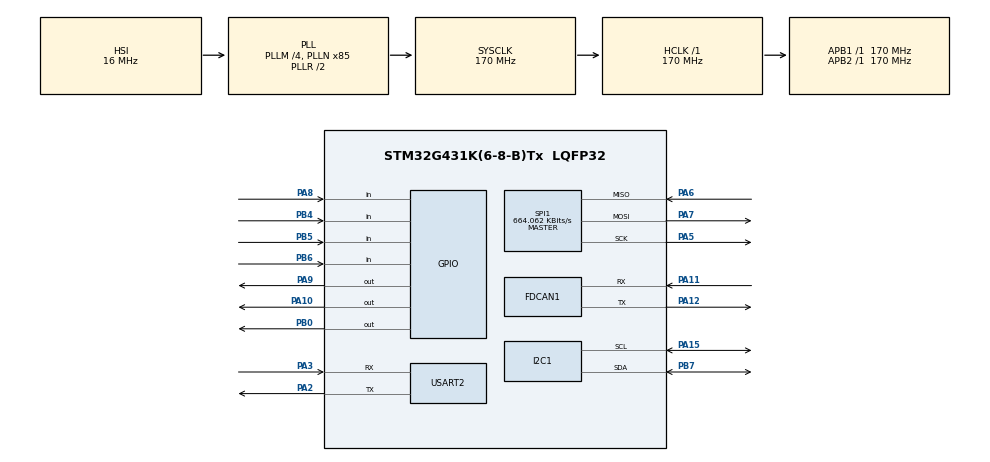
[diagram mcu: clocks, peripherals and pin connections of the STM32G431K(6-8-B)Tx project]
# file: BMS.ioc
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FDCAN1.AutoRetransmission=ENABLE
FDCAN1.CalculateBaudRateNominal=499999
FDCAN1.CalculateTimeBitNominal=2000
FDCAN1.CalculateTimeQuantumNominal=117.64705882352942
FDCAN1.DataPrescaler=20
FDCAN1.DataTimeSeg1=14
FDCAN1.DataTimeSeg2=2
FDCAN1.NominalPrescaler=20
FDCAN1.NominalTimeSeg1=14
FDCAN1.NominalTimeSeg2=2
FDCAN1.StdFiltersNbr=1
I2C1.Speed=100
I2C1.Timing=0x40B285C2
Mcu.Family=STM32G4
Mcu.Name=STM32G431K(6-8-B)Tx
Mcu.Package=LQFP32
NUCLEO-G431KB.LD2=false
NUCLEO-G431KB.VCP=true
NVIC.FDCAN1_IT0_IRQn=true\:0\:0\:false\:false\:true\:true\:true\:true
NVIC.PriorityGroup=NVIC_PRIORITYGROUP_4
PA10.Signal=GPIO_Output
PA11.Mode=FDCAN_Activate
PA11.Signal=FDCAN1_RX
PA12.Mode=FDCAN_Activate
PA12.Signal=FDCAN1_TX
PA13.GPIO_Label=T_SWDIO
PA13.Signal=SYS_JTMS-SWDIO
PA14.GPIO_Label=T_SWCLK
PA14.Signal=SYS_JTCK-SWCLK
PA15.Mode=I2C
PA15.Signal=I2C1_SCL
PA2.Mode=Asynchronous
PA2.Signal=USART2_TX
PA3.Mode=Asynchronous
PA3.Signal=USART2_RX
PA5.Mode=Full_Duplex_Master
PA5.Signal=SPI1_SCK
PA6.Mode=Full_Duplex_Master
PA6.Signal=SPI1_MISO
PA7.Mode=Full_Duplex_Master
PA7.Signal=SPI1_MOSI
PA8.Signal=GPIO_Input
PA9.Signal=GPIO_Output
PB0.Signal=GPIO_Output
PB3.GPIO_Label=T_SWO
PB3.Signal=SYS_JTDO-SWO
PB4.Signal=GPIO_Input
PB5.Signal=GPIO_Input
PB6.Signal=GPIO_Input
PB7.Mode=I2C
PB7.Signal=I2C1_SDA
ProjectManager.HeapSize=0x200
ProjectManager.StackSize=0x400
ProjectManager.TargetToolchain=STM32CubeIDE
RCC.ADC12Freq_Value=170000000
RCC.AHBFreq_Value=170000000
RCC.APB1Freq_Value=170000000
RCC.APB1TimFreq_Value=170000000
RCC.APB2Freq_Value=170000000
RCC.APB2TimFreq_Value=170000000
RCC.CortexFreq_Value=170000000
RCC.EXTERNAL_CLOCK_VALUE=12288000
RCC.HCLKFreq_Value=170000000
RCC.HSE_VALUE=8000000
RCC.HSI48_VALUE=48000000
RCC.HSI_VALUE=16000000
RCC.LSE_VALUE=32768
RCC.PLLM=RCC_PLLM_DIV4
RCC.PLLN=85
RCC.SYSCLKFreq_VALUE=170000000
RCC.SYSCLKSource=RCC_SYSCLKSOURCE_PLLCLK
RCC.USBFreq_Value=170000000
RCC.VCOOutputFreq_Value=340000000
SPI1.BaudRatePrescaler=SPI_BAUDRATEPRESCALER_256
SPI1.CLKPhase=SPI_PHASE_2EDGE
SPI1.CLKPolarity=SPI_POLARITY_HIGH
SPI1.CalculateBaudRate=664.062 KBits/s
SPI1.DataSize=SPI_DATASIZE_8BIT
SPI1.Direction=SPI_DIRECTION_2LINES
SPI1.Mode=SPI_MODE_MASTER
SPI1.VirtualType=VM_MASTER
VP_NUCLEO-G431KB_VS_BSP_COMMON.Mode=COMMON
VP_SYS_VS_DBSignals.Mode=DisableDeadBatterySignals
board=NUCLEO-G431KB

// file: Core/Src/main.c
/* USER CODE BEGIN Header */
/**
  ******************************************************************************
  * @file           : main.c
  * @brief          : Main program body
  ******************************************************************************
  * @attention
  *
  * Copyright (c) 2025 STMicroelectronics.
  * All rights reserved.
  *
  * This software is licensed under terms that can be found in the LICENSE file
  * in the root directory of this software component.
  * If no LICENSE file comes with this software, it is provided AS-IS.
  *
  ******************************************************************************
  */
/* USER CODE END Header */
#include "main.h"

/* USER CODE BEGIN Includes */
#include "spi.h"
#include "uart.h"
//#include "can_bus.h"
#include "overvoker.h"
#include "balanserer.h"
#include "functions.h"
#include "ina238.h"
#include <stdbool.h>

/* USER CODE END Includes */

COM_InitTypeDef BspCOMInit;

FDCAN_HandleTypeDef hfdcan1;

I2C_HandleTypeDef hi2c1;

SPI_HandleTypeDef hspi1;

/* USER CODE BEGIN PV */
//#define BATTERY_CAPACITY_AH_TOTAL 19.2f
#define BATTERY_CAPACITY_AH 14.8f
#define FULL_VOLTAGE_THRESHOLD 50.0f
#define INA238_SHUNT_CAL 0x100A  // or use your tuned value
// Update rate (s) — adjust if not 1Hz
#define SOC_SAMPLE_INTERVAL_SEC 1.0f
// Tracks total discharge since startup
static float accumulated_ah = 0.0f;

float temperatures[3];
uint8_t celler_balansestatus[12];

uint16_t TX_Buffer = 0;
uint16_t RX_Buffer = 0;
uint8_t Write_command = 0xA9;
uint8_t Read_command = 0xAA;

uint8_t Write_config[2] = {0x30, 0x86};
uint8_t Write_config_2[2] = {0x03, 0x35};

uint8_t Read_config[2];
uint8_t cell_actions[6];// = {0, 0, 0, 3, 0, 2}; // example: no action, discharge, no action, charge, no action, discharge(sync)
uint8_t config_bytes[2];
uint8_t Read_buffer[2];

uint8_t teller = 0;

float dummy_voltages[12] = {
    3.855f,  // Cell 1 → above median → should discharge
    3.855f,  // Cell 2 → above median → should discharge
    3.965f,  // Cell 3 → below median → no action
    3.855f,  // Cell 4 → below median → charge
    3.855f,  // Cell 5 → close to median → no action
    3.855f,  // Cell 6 → below median → charge
    3.855f, // Cell 7 → equal to median → no action
    3.855f, // Cell 8 → equal to median → no action
    3.855f, // Cell 9 → equal to median → no action
    3.855f, // Cell 10 → equal to median → no action
    3.855f, // Cell 11 → equal to median → no action
    3.855f  // Cell 12 → equal to median → no action
};

/* USER CODE END PV */

void SystemClock_Config(void);
static void MX_GPIO_Init(void);
static void MX_FDCAN1_Init(void);
static void MX_I2C1_Init(void);
static void MX_SPI1_Init(void);

/* USER CODE BEGIN 0 */
void PackBatteryStatusCAN(
    float voltage,         // V (e.g. 40.00–51.00)
    float current,         // A (0.00–30.00)
    uint16_t power,        // W (0–1600)
    float temperature,     // °C (10–80)
    uint8_t soc_percent,   // 0–100%
    bool unbalanced,
    bool vann,
    bool overtemp,
    uint8_t out[8]
) {
    if (voltage > 51.00f) voltage = 51.00f;
    if (voltage < 40.00f) voltage = 40.00f;
    if (current > 30.0f) current = 30.0f;
    if (temperature > 127.0f) temperature = 127.0f;
    if (soc_percent > 100) soc_percent = 100;

    uint16_t v_enc = (uint16_t)(voltage * 100.0f);
    uint8_t  i_enc = (uint8_t)(current * 10.0f);
    uint8_t  t_enc = (uint8_t)(temperature);
    uint8_t  charge = soc_percent;

    uint8_t t_flags = (t_enc & 0x1F);  // use only lower 5 bits for temp
    if (unbalanced) t_flags |= (1 << 7);
    if (vann)       t_flags |= (1 << 6);
    if (overtemp)   t_flags |= (1 << 5);

    out[0] = (v_enc >> 8) & 0xFF;
    out[1] = v_enc & 0xFF;

    out[2] = i_enc;

    out[3] = (power >> 8) & 0xFF;
    out[4] = power & 0xFF;

    out[5] = t_flags;

    out[6] = charge;

    out[7] = 0; // reserved
}

/* USER CODE END 0 */

int main(void)
{

  /* MCU Configuration--------------------------------------------------------*/

  /* Reset of all peripherals, Initializes the Flash interface and the Systick. */
  HAL_Init();

  /* Configure the system clock */
  SystemClock_Config();

  /* Initialize all configured peripherals */
  MX_GPIO_Init();
  MX_FDCAN1_Init();
  MX_I2C1_Init();
  MX_SPI1_Init();
  /* USER CODE BEGIN 2 */
  HAL_FDCAN_Start(&hfdcan1);

  SPI_Devices_Init();
  Overvoker_Init();
  if (INA238_Init(&hi2c1, INA238_SHUNT_CAL) == HAL_OK) {
      printf("INA238 initialized.\n");
  } else {
      printf("INA238 init failed.\n");
  }
//  CAN_Init();

//  static bool soc_initialized = false;
//
//  float v_bus = INA238_GetBusVoltage(&hi2c1);
//  if (!soc_initialized && v_bus > FULL_VOLTAGE_THRESHOLD) {
//      // Reset accumulated charge (register 0x0A)
//      if (INA238_WriteRegister(&hi2c1, INA238_REG_CHARGE, 0x2000) == HAL_OK) {
//          printf("Battery initialized as full (%.2f V), charge counter reset.\n", v_bus);
//          soc_initialized = true;
//      } else {
//          printf("Failed to reset INA238 charge register.\n");
//      }
//  }
  /* USER CODE END 2 */

  /* Initialize COM1 port (115200, 8 bits (7-bit data + 1 stop bit), no parity */
  BspCOMInit.BaudRate   = 115200;
  BspCOMInit.WordLength = COM_WORDLENGTH_8B;
  BspCOMInit.StopBits   = COM_STOPBITS_1;
  BspCOMInit.Parity     = COM_PARITY_NONE;
  BspCOMInit.HwFlowCtl  = COM_HWCONTROL_NONE;
  if (BSP_COM_Init(COM1, &BspCOMInit) != BSP_ERROR_NONE)
  {
    Error_Handler();
  }

  /* Infinite loop */
  /* USER CODE BEGIN WHILE */

  while (1)
  {
//	  if (HAL_GetTick() - last > 1000) {
//	      printf("Time: %lu ms\r\n", HAL_GetTick());
//	      last = HAL_GetTick();
//	  }

	  bool unbalanced = false;
  	  bool vann = false;
  	  bool overtemp = false;

  	  Vanninntrengning(&vann);

	  Overvoker_writeRegisters();
	  float voltages[12];
	  float deviation[12];
	  int8_t charge_status[12];
	  Overvoker_readVolts(voltages);
	  Overvoker_EvaluateBalance(voltages, deviation, charge_status);

	  for (int i = 0; i < 12; i++) {
	      if (charge_status[i] != 0) {
	          unbalanced = true;
	          break;
	      }
	      else {
	    	  unbalanced = false;
	      }
	  }

	  // Print Voltage for cells and deviance and status
//	  for (int i = 0; i < 12; i++) {
//	      printf("Cell %d: %.3f V, Δ=%.3f, status=%d\r\n", i + 1, voltages[i], deviation[i], charge_status[i]);
//	  }

	  // UART in csv format
	  for (int i = 0; i < 12; i++) {
	      printf("%.3f", voltages[i]);
	      if (i < 11) printf(",");
	  }
	  printf(",");
//	  printf("\r\n");

	  // Les temperaturer
	  Overvoker_readTemp(temperatures);

	      // Skriv ut temperaturene
//	  printf("Temp 1 (ext): %.2f °C\r\n", temperatures[0]);
//	  printf("Temp 2 (ext): %.2f °C\r\n", temperatures[1]);
//	  printf("Temp IC (int): %.2f °C\r\n", temperatures[2]);

	  // Find the highest temperature
	  float max_temp = temperatures[0];
	  for (int i = 1; i < 3; i++) {
	      if (temperatures[i] > max_temp) {
	          max_temp = temperatures[i];
	      }
	  }
	  CheckOvertemp(max_temp, &overtemp);
	  // Then 3 temperatures
	  for (int i = 0; i < 3; i++) {
	      printf("%.2f,", temperatures[i]);
	  }
//	  printf("Highest temp: %.2f °C\r\n", max_temp);

	  static uint32_t last_tick = 0;
	  uint32_t now = HAL_GetTick();  // in ms
	  float delta_sec = (now - last_tick) / 1000.0f;
	  last_tick = now;

	  // Only integrate if delta is valid (e.g. >0.001 s)
	  if (delta_sec > 0.001f) {
	      float current = INA238_GetCurrent(&hi2c1);
	      if (current < 0.0f) current = 0.0f;

	      accumulated_ah += (current * delta_sec) / 3600.0f;

	      if (accumulated_ah > BATTERY_CAPACITY_AH)
	          accumulated_ah = BATTERY_CAPACITY_AH;

	      float soc = 100.0f * (1.0f - (accumulated_ah / BATTERY_CAPACITY_AH));
	      if (soc < 0.0f) soc = 0.0f;

	      uint8_t soc_percent = (uint8_t)(soc + 0.5f);

	      printf("%.3f,", current);
//	      printf("Acc. Discharge: %.6f Ah\r\n", accumulated_ah);
//	      printf("SoC: %d %%\r\n", soc_percent);

	      // Add discharge (Ah), SoC (%), Bus Voltage (V), Power (W)
	      printf("%.6f,", accumulated_ah);                     // Discharge
	      printf("%d,", soc_percent);                          // SoC
	      printf("%.3f,", INA238_GetBusVoltage(&hi2c1));       // Vbus
	      printf("%.3f\r\n", INA238_GetPower(&hi2c1));         // Power

	      uint8_t can_data[8];
	      PackBatteryStatusCAN(
	    		  INA238_GetBusVoltage(&hi2c1),
				  INA238_GetCurrent(&hi2c1),
				  INA238_GetPower(&hi2c1),
				  max_temp,  // max temp
	      	      soc_percent,               // % SoC
	      	      unbalanced,             // unbalanced
				  vann,
				  overtemp,
	      	      can_data
				  );
//	      printf("CAN Data: ");
//	      for (int i = 0; i < 8; i++) {
//	          printf("%02X ", can_data[i]);
//	      }
	      printf("\r\n");

	      FDCAN_TxHeaderTypeDef txHeader;
	      txHeader.Identifier = 0x84;
	      txHeader.IdType = FDCAN_STANDARD_ID;
	      txHeader.TxFrameType = FDCAN_DATA_FRAME;
	      txHeader.DataLength = FDCAN_DLC_BYTES_8;  // 8 bytes of data
	      txHeader.ErrorStateIndicator = FDCAN_ESI_ACTIVE;
	      txHeader.BitRateSwitch = FDCAN_BRS_OFF;
	      txHeader.FDFormat = FDCAN_CLASSIC_CAN;
	      txHeader.TxEventFifoControl = FDCAN_NO_TX_EVENTS;
	      txHeader.MessageMarker = 0;

//	      if (teller >= 10) {
	      if (HAL_FDCAN_AddMessageToTxFifoQ(&hfdcan1, &txHeader, can_data) != HAL_OK) {
	              printf("HAL_FDCAN transmission failed!\r\n");
//	    		  teller = 0;  // Reset the counter after sending
	      }
//	      }
//	      else {
//	    	  teller++;
//	      }
	  }
//	  printf("Bus Voltage: %.3f V\r\n", INA238_GetBusVoltage(&hi2c1));
////	  printf("Shunt Voltage: %.6f V\r\n", INA238_GetShuntVoltage(&hi2c1));
////	  printf("Current: %.3f A\r\n", INA238_GetCurrent(&hi2c1));
//	  printf("Power: %.3f W\r\n", INA238_GetPower(&hi2c1));

//
//	  CAN_Send(0x123, can_data, 8);

	  Wait(1000);

//	  determine_cell_actions(dummy_voltages, cell_actions);
//	  make_config_bytes(cell_actions, config_bytes);
//	  Balanserer_WriteConfig(config_bytes);

//	  if (Balanserer_VerifyConfig(config_bytes)) {
//	      Balanserer_ExecuteBalancing();
//		  printf("Config verified! Balancing executed.\r\n");
//		  Balanserer_ExecuteBalancing();
//		  Balanserer_ReadStatus(Read_buffer);
//		  printf("Read: 0x%02X 0x%02X\r\n", Read_buffer[0], Read_buffer[1]);
//		  Wait(2000);
//	      Balanserer_StopBalancing();
//	      printf("Balancing Stopped.\r\n");
//	  } else {
//		  Balanserer_StopBalancing();
//	      printf("Config verification failed! Balancing aborted.\r\n");
//	  }
//
////	  printf("Received bytes: 0x%02X 0x%02X\n", config_bytes[0], config_bytes[1]);
//	  Wait(3000);

    /* USER CODE END WHILE */

  }
}

void SystemClock_Config(void)
{
  RCC_OscInitTypeDef RCC_OscInitStruct = {0};
  RCC_ClkInitTypeDef RCC_ClkInitStruct = {0};

  /** Configure the main internal regulator output voltage
  */
  HAL_PWREx_ControlVoltageScaling(PWR_REGULATOR_VOLTAGE_SCALE1_BOOST);

  /** Initializes the RCC Oscillators according to the specified parameters
  * in the RCC_OscInitTypeDef structure.
  */
  RCC_OscInitStruct.OscillatorType = RCC_OSCILLATORTYPE_HSI;
  RCC_OscInitStruct.HSIState = RCC_HSI_ON;
  RCC_OscInitStruct.HSICalibrationValue = RCC_HSICALIBRATION_DEFAULT;
  RCC_OscInitStruct.PLL.PLLState = RCC_PLL_ON;
  RCC_OscInitStruct.PLL.PLLSource = RCC_PLLSOURCE_HSI;
  RCC_OscInitStruct.PLL.PLLM = RCC_PLLM_DIV4;
  RCC_OscInitStruct.PLL.PLLN = 85;
  RCC_OscInitStruct.PLL.PLLP = RCC_PLLP_DIV2;
  RCC_OscInitStruct.PLL.PLLQ = RCC_PLLQ_DIV2;
  RCC_OscInitStruct.PLL.PLLR = RCC_PLLR_DIV2;
  if (HAL_RCC_OscConfig(&RCC_OscInitStruct) != HAL_OK)
  {
    Error_Handler();
  }

  /** Initializes the CPU, AHB and APB buses clocks
  */
  RCC_ClkInitStruct.ClockType = RCC_CLOCKTYPE_HCLK|RCC_CLOCKTYPE_SYSCLK
                              |RCC_CLOCKTYPE_PCLK1|RCC_CLOCKTYPE_PCLK2;
  RCC_ClkInitStruct.SYSCLKSource = RCC_SYSCLKSOURCE_PLLCLK;
  RCC_ClkInitStruct.AHBCLKDivider = RCC_SYSCLK_DIV1;
  RCC_ClkInitStruct.APB1CLKDivider = RCC_HCLK_DIV1;
  RCC_ClkInitStruct.APB2CLKDivider = RCC_HCLK_DIV1;

  if (HAL_RCC_ClockConfig(&RCC_ClkInitStruct, FLASH_LATENCY_4) != HAL_OK)
  {
    Error_Handler();
  }
}

static void MX_FDCAN1_Init(void)
{

  hfdcan1.Instance = FDCAN1;
  hfdcan1.Init.ClockDivider = FDCAN_CLOCK_DIV1;
  hfdcan1.Init.FrameFormat = FDCAN_FRAME_CLASSIC;
  hfdcan1.Init.Mode = FDCAN_MODE_NORMAL;
  hfdcan1.Init.AutoRetransmission = ENABLE;
  hfdcan1.Init.TransmitPause = DISABLE;
  hfdcan1.Init.ProtocolException = DISABLE;
  hfdcan1.Init.NominalPrescaler = 20;
  hfdcan1.Init.NominalSyncJumpWidth = 1;
  hfdcan1.Init.NominalTimeSeg1 = 14;
  hfdcan1.Init.NominalTimeSeg2 = 2;
  hfdcan1.Init.DataPrescaler = 20;
  hfdcan1.Init.DataSyncJumpWidth = 1;
  hfdcan1.Init.DataTimeSeg1 = 14;
  hfdcan1.Init.DataTimeSeg2 = 2;
  hfdcan1.Init.StdFiltersNbr = 1;
  hfdcan1.Init.ExtFiltersNbr = 0;
  hfdcan1.Init.TxFifoQueueMode = FDCAN_TX_FIFO_OPERATION;
  if (HAL_FDCAN_Init(&hfdcan1) != HAL_OK)
  {
    Error_Handler();
  }

}

static void MX_I2C1_Init(void)
{

  hi2c1.Instance = I2C1;
  hi2c1.Init.Timing = 0x40B285C2;
  hi2c1.Init.OwnAddress1 = 0;
  hi2c1.Init.AddressingMode = I2C_ADDRESSINGMODE_7BIT;
  hi2c1.Init.DualAddressMode = I2C_DUALADDRESS_DISABLE;
  hi2c1.Init.OwnAddress2 = 0;
  hi2c1.Init.OwnAddress2Masks = I2C_OA2_NOMASK;
  hi2c1.Init.GeneralCallMode = I2C_GENERALCALL_DISABLE;
  hi2c1.Init.NoStretchMode = I2C_NOSTRETCH_DISABLE;
  if (HAL_I2C_Init(&hi2c1) != HAL_OK)
  {
    Error_Handler();
  }

  /** Configure Analogue filter
  */
  if (HAL_I2CEx_ConfigAnalogFilter(&hi2c1, I2C_ANALOGFILTER_ENABLE) != HAL_OK)
  {
    Error_Handler();
  }

  /** Configure Digital filter
  */
  if (HAL_I2CEx_ConfigDigitalFilter(&hi2c1, 0) != HAL_OK)
  {
    Error_Handler();
  }

}

static void MX_SPI1_Init(void)
{

  /* SPI1 parameter configuration*/
  hspi1.Instance = SPI1;
  hspi1.Init.Mode = SPI_MODE_MASTER;
  hspi1.Init.Direction = SPI_DIRECTION_2LINES;
  hspi1.Init.DataSize = SPI_DATASIZE_8BIT;
  hspi1.Init.CLKPolarity = SPI_POLARITY_HIGH;
  hspi1.Init.CLKPhase = SPI_PHASE_2EDGE;
  hspi1.Init.NSS = SPI_NSS_SOFT;
  hspi1.Init.BaudRatePrescaler = SPI_BAUDRATEPRESCALER_256;
  hspi1.Init.FirstBit = SPI_FIRSTBIT_MSB;
  hspi1.Init.TIMode = SPI_TIMODE_DISABLE;
  hspi1.Init.CRCCalculation = SPI_CRCCALCULATION_DISABLE;
  hspi1.Init.CRCPolynomial = 7;
  hspi1.Init.CRCLength = SPI_CRC_LENGTH_DATASIZE;
  hspi1.Init.NSSPMode = SPI_NSS_PULSE_DISABLE;
  if (HAL_SPI_Init(&hspi1) != HAL_OK)
  {
    Error_Handler();
  }

}

static void MX_GPIO_Init(void)
{
  GPIO_InitTypeDef GPIO_InitStruct = {0};

  /* GPIO Ports Clock Enable */
  __HAL_RCC_GPIOA_CLK_ENABLE();
  __HAL_RCC_GPIOB_CLK_ENABLE();

  /*Configure GPIO pin Output Level */
  HAL_GPIO_WritePin(GPIOB, GPIO_PIN_0, GPIO_PIN_RESET);

  /*Configure GPIO pin Output Level */
  HAL_GPIO_WritePin(GPIOA, GPIO_PIN_9|GPIO_PIN_10, GPIO_PIN_RESET);

  /*Configure GPIO pin : PB0 */
  GPIO_InitStruct.Pin = GPIO_PIN_0;
  GPIO_InitStruct.Mode = GPIO_MODE_OUTPUT_PP;
  GPIO_InitStruct.Pull = GPIO_NOPULL;
  GPIO_InitStruct.Speed = GPIO_SPEED_FREQ_LOW;
  HAL_GPIO_Init(GPIOB, &GPIO_InitStruct);

  /*Configure GPIO pin : PA8 */
  GPIO_InitStruct.Pin = GPIO_PIN_8;
  GPIO_InitStruct.Mode = GPIO_MODE_INPUT;
  GPIO_InitStruct.Pull = GPIO_NOPULL;
  HAL_GPIO_Init(GPIOA, &GPIO_InitStruct);

  /*Configure GPIO pins : PA9 PA10 */
  GPIO_InitStruct.Pin = GPIO_PIN_9|GPIO_PIN_10;
  GPIO_InitStruct.Mode = GPIO_MODE_OUTPUT_PP;
  GPIO_InitStruct.Pull = GPIO_NOPULL;
  GPIO_InitStruct.Speed = GPIO_SPEED_FREQ_LOW;
  HAL_GPIO_Init(GPIOA, &GPIO_InitStruct);

  /*Configure GPIO pins : PB4 PB5 PB6 */
  GPIO_InitStruct.Pin = GPIO_PIN_4|GPIO_PIN_5|GPIO_PIN_6;
  GPIO_InitStruct.Mode = GPIO_MODE_INPUT;
  GPIO_InitStruct.Pull = GPIO_NOPULL;
  HAL_GPIO_Init(GPIOB, &GPIO_InitStruct);

}

/* USER CODE BEGIN Header */
/**
  ******************************************************************************
  * @file           : main.c
  * @brief          : Main program body
  ******************************************************************************
  * @attention
  *
  * Copyright (c) 2025 STMicroelectronics.
  * All rights reserved.
  *
  * This software is licensed under terms that can be found in the LICENSE file
  * in the root directory of this software component.
  * If no LICENSE file comes with this software, it is provided AS-IS.
  *
  ******************************************************************************
  */
/* USER CODE END Header */

void Error_Handler(void)
{
  __disable_irq();
  while (1)
  {
  }
}
